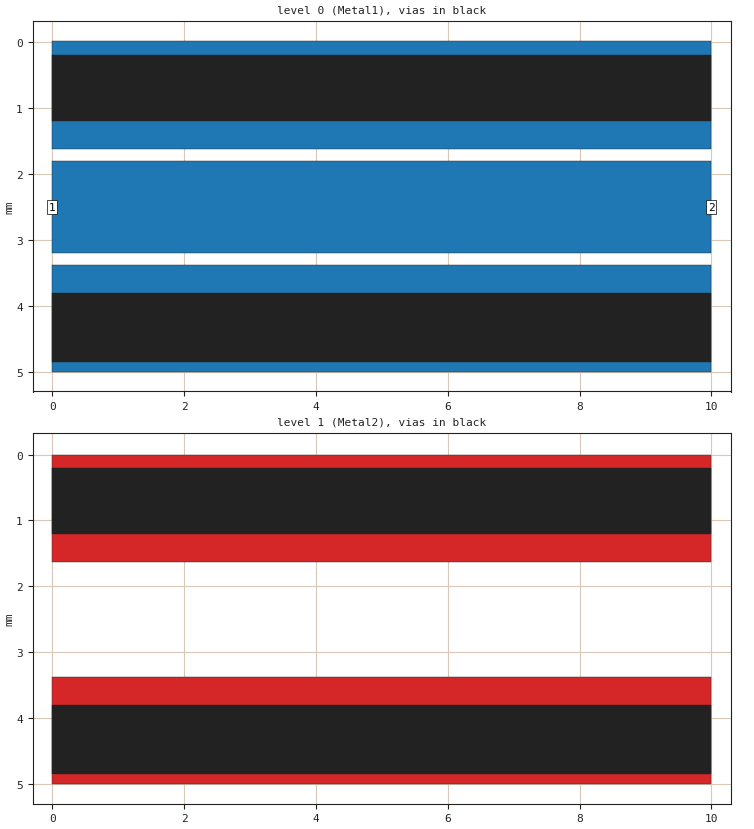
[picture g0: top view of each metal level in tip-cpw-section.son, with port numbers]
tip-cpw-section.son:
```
FTYP SONPROJ 17 ! Sonnet Project File
VER 17.52.2
HEADER
LIC antikernel2.1.48685 90e2ba8817c0 havequick azonenberg
DAT 04/09/2020 10:30:11
BUILT_BY_CREATED xgeom 16.56 07/03/2018 15:05:41
BUILT_BY_SAVED sonnet 17.52.2
MDATE 04/09/2020 10:30:11
HDATE 04/09/2020 10:30:11
END HEADER
DIM
ANG DEG
CAP PF
CON /OH
FREQ GHZ
IND NH
LNG MM
RES OH
END DIM
CONTROL
VARSWP
OPTIONS  -dj
SPEED 0
CACHE_ABS 1
Q_ACC N
END CONTROL
GEO
SYM
TMET "Free Space" 0 FREESPACE 376.7303136 0 0 0
BMET "Free Space" 0 FREESPACE 376.7303136 0 0 0
MET "Silver" 1 TMM 61700000 0.5 0.035 3
BOX 2 10 5 160 400 20 0
      1 1 1 0 0 0 0 "Air"
      0.508 3.5 1 0.0037 0 0 0 "Rogers RO4350B"
      1 1 1 0 0 0 0 "Substrate"
TECHLAY METAL Metal1 <UNSPECIFIED> -2 0 
0 0 0 N 0 1 1 100 100 0 0 0 Y
END
END
TECHLAY METAL Metal2 <UNSPECIFIED> -3 0 
1 0 -1 N 0 1 1 100 100 0 0 0 Y
END
END
DIM STD YDIR -1
POS -0.3256573327 -1.084628238
NOM 1.4
REF1 POLY 10 1
3
REF2 POLY 10 1
0
END
DIM STD YDIR -1
POS -0.04296321145 -0.7611463874
NOM 0.175
REF1 POLY 10 1
0
REF2 POLY 13 1
3
END
DIM STD YDIR -1
POS -0.3348150988 -0.4459235475
NOM 0.175
REF1 POLY 14 1
0
REF2 POLY 10 1
3
END
DIM STD YDIR -1
POS -0.2644663633 -0.1649452393
NOM 0.425
REF1 POLY 13 1
3
REF2 POLY 15 1
3
END
DIM STD YDIR 1
POS -0.1163889346 0.006503824458
NOM 0.425
REF1 POLY 14 1
0
REF2 POLY 16 1
0
END
LORGN 0 250 U 
POR1 BOX
POLY 10 1
3
1 50 0 0 0 0 2.5 
POR1 BOX
POLY 10 1
1
2 50 0 0 0 10 2.5 
NUM 7
0 5 0 N 10 1 1 100 100 0 0 0 Y
TLAYNAM Metal1 INH
0 1.8
10 1.8
10 3.2
0 3.2
0 1.8
END
0 5 0 N 13 1 1 100 100 0 0 0 Y
TLAYNAM Metal1 INH
0 -0.025
10 -0.025
10 1.625
0 1.625
0 -0.025
END
0 5 0 N 14 1 1 100 100 0 0 0 Y
TLAYNAM Metal1 INH
0 3.375
10 3.375
10 5
0 5
0 3.375
END
VIA POLYGON
0 5 -1 N 15 1 1 100 100 0 0 0 Y
TOLEVEL 1 RING NOCOVERS
0 0.2
10 0.2
10 1.2
0 1.2
0 0.2
END
VIA POLYGON
0 5 -1 N 16 1 1 100 100 0 0 0 Y
TOLEVEL 1 RING NOCOVERS
0 3.8
10 3.8
10 4.85
0 4.85
0 3.8
END
1 5 -1 N 19 1 1 100 100 0 0 0 Y
TLAYNAM Metal2 INH
0 0
10 0
10 1.625
0 1.625
0 0
END
1 5 -1 N 35 1 1 100 100 0 0 0 Y
TLAYNAM Metal2 INH
0 3.375
10 3.375
10 5
0 5
0 3.375
END
END GEO
OPT
MAX 100
END OPT
VARSWP
ENABLED Y
FREQ Y AY ABS_ENTRY 0.1 10.0 -1 300 
END
END VARSWP
FILEOUT
FOLDER .
END FILEOUT
```
